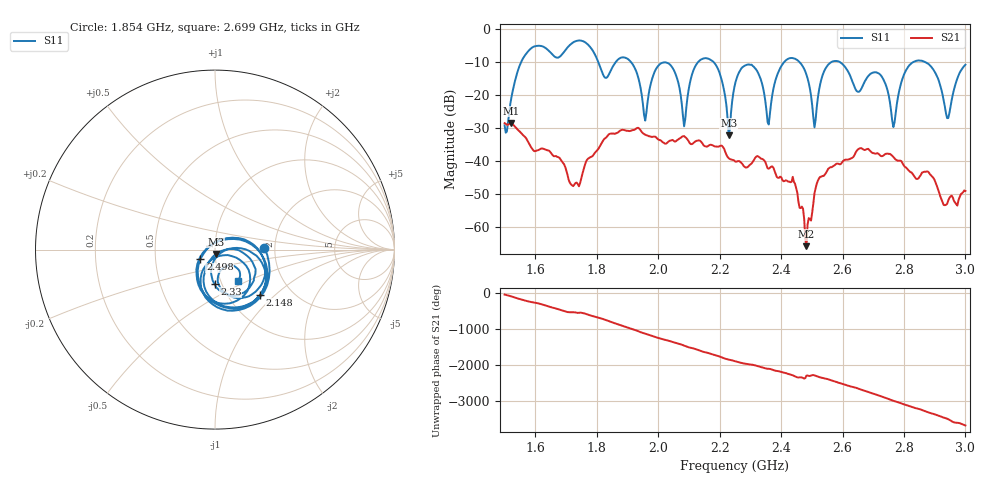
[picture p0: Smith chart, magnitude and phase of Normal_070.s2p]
# HZ S RI R 50
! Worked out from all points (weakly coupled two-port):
!   404 points, 1.5 GHz to 3 GHz, reference 50 ohm
!   highest |S21| = -28.46 dB at 1.522 GHz (marker M1); lowest = -65.7 dB at 2.483 GHz (marker M2)
!   lowest |S11| = -32.1 dB at 2.23 GHz (marker M3), VSWR 1.05, Z = 50.4 - j2.45 ohm
!   |S11| at or under -10 dB: 1.911 GHz to 2.131 GHz (219.7 MHz wide, 10.9 % of centre); 2.179 GHz to 2.411 GHz (231.3 MHz wide, 10.1 % of centre); 2.59 GHz to 2.832 GHz (241.8 MHz wide, 8.92 % of centre) (the widest 3 of 7)
!   S12 and S22 are empty: the file has one direction only
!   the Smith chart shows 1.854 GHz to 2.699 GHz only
!   S11 on the Smith chart (normalised r, x): 1.854 GHz: 1.76, +0.04; 2.148 GHz: 1.40, -0.81; 2.33 GHz: 0.92, -0.37; 2.498 GHz: 0.84, -0.09; 2.699 GHz: 1.20, -0.44
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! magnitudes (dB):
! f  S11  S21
! 1.5 GHz  -29.2  -28.5
! 1.522 GHz  -20.7  -28.5
! 1.586 GHz  -6.0  -35.7
! 1.753 GHz  -3.7  -43.9
! 1.854 GHz  -11.2  -31.7
! 1.958 GHz  -27.8  -32.0
! 2.002 GHz  -11.0  -33.6
! 2.084 GHz  -29.5  -32.4
! 2.148 GHz  -9.0  -35.2
! 2.23 GHz  -32.1  -39.1
! 2.252 GHz  -16.1  -40.2
! 2.33 GHz  -14.4  -38.9
! 2.36 GHz  -28.9  -42.3
! 2.412 GHz  -9.9  -46.0
! 2.483 GHz  -13.9  -65.7
! 2.498 GHz  -20.2  -58.0
! 2.501 GHz  -23.1  -55.6
! 2.699 GHz  -13.3  -37.6
! 2.751 GHz  -20.3  -37.8
! 2.859 GHz  -9.7  -43.5
! 2.944 GHz  -27.0  -51.9
! 3 GHz  -10.9  -49.0
